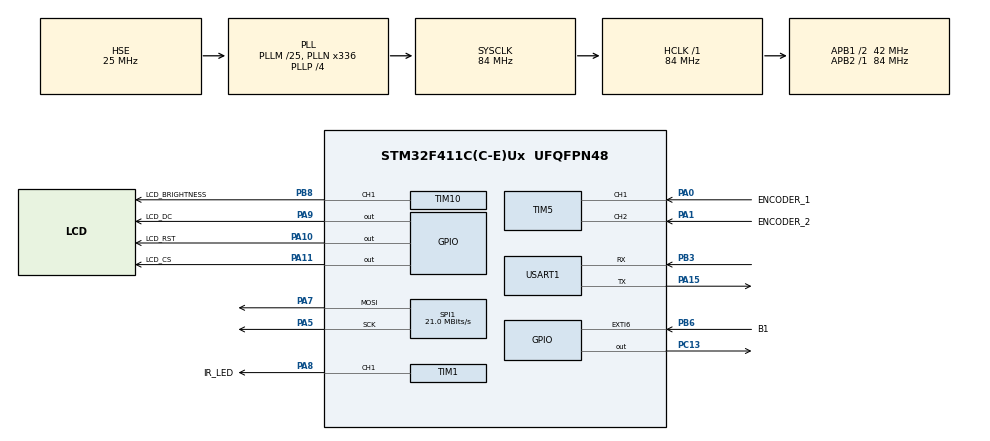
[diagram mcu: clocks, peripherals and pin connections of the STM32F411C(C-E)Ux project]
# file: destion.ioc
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Dma.Request0=SPI1_TX
Dma.SPI1_TX.0.Direction=DMA_MEMORY_TO_PERIPH
Dma.SPI1_TX.0.FIFOMode=DMA_FIFOMODE_DISABLE
Dma.SPI1_TX.0.Instance=DMA2_Stream2
Dma.SPI1_TX.0.MemDataAlignment=DMA_MDATAALIGN_BYTE
Dma.SPI1_TX.0.MemInc=DMA_MINC_ENABLE
Dma.SPI1_TX.0.Mode=DMA_NORMAL
Dma.SPI1_TX.0.PeriphDataAlignment=DMA_PDATAALIGN_BYTE
Dma.SPI1_TX.0.PeriphInc=DMA_PINC_DISABLE
Dma.SPI1_TX.0.Priority=DMA_PRIORITY_LOW
Mcu.Family=STM32F4
Mcu.Name=STM32F411C(C-E)Ux
Mcu.Package=UFQFPN48
NVIC.DMA2_Stream2_IRQn=true\:0\:0\:false\:false\:true\:false\:true\:true
NVIC.EXTI9_5_IRQn=true\:0\:0\:false\:false\:true\:true\:true\:true
NVIC.PriorityGroup=NVIC_PRIORITYGROUP_4
NVIC.RTC_WKUP_IRQn=true\:0\:0\:false\:false\:true\:true\:true\:true
NVIC.TIM1_TRG_COM_TIM11_IRQn=true\:0\:0\:false\:false\:true\:true\:true\:true
NVIC.USART1_IRQn=true\:0\:0\:false\:false\:true\:true\:true\:true
PA0-WKUP.GPIO_Label=ENCODER_1
PA0-WKUP.Signal=S_TIM5_CH1
PA1.GPIO_Label=ENCODER_2
PA1.Signal=S_TIM5_CH2
PA10.GPIO_Label=LCD_RST
PA10.Signal=GPIO_Output
PA11.GPIO_Label=LCD_CS
PA11.Signal=GPIO_Output
PA13.Mode=Serial_Wire
PA13.Signal=SYS_JTMS-SWDIO
PA14.Mode=Serial_Wire
PA14.Signal=SYS_JTCK-SWCLK
PA15.Mode=Asynchronous
PA15.Signal=USART1_TX
PA5.Mode=TX_Only_Simplex_Unidirect_Master
PA5.Signal=SPI1_SCK
PA7.Mode=TX_Only_Simplex_Unidirect_Master
PA7.Signal=SPI1_MOSI
PA8.GPIO_Label=IR_LED
PA8.Signal=S_TIM1_CH1
PA9.GPIO_Label=LCD_DC
PA9.Signal=GPIO_Output
PB3.Mode=Asynchronous
PB3.Signal=USART1_RX
PB6.GPIO_Label=B1
PB6.GPIO_ModeDefaultEXTI=GPIO_MODE_IT_FALLING
PB6.GPIO_PuPd=GPIO_PULLUP
PB6.Signal=GPXTI6
PB8.GPIO_Label=LCD_BRIGHTNESS
PB8.Signal=S_TIM10_CH1
PC13-ANTI_TAMP.Signal=GPIO_Output
PC14-OSC32_IN.Mode=LSE-External-Oscillator
PC14-OSC32_IN.Signal=RCC_OSC32_IN
PC15-OSC32_OUT.Mode=LSE-External-Oscillator
PC15-OSC32_OUT.Signal=RCC_OSC32_OUT
PH0\ -\ OSC_IN.Mode=HSE-External-Oscillator
PH0\ -\ OSC_IN.Signal=RCC_OSC_IN
PH1\ -\ OSC_OUT.Mode=HSE-External-Oscillator
PH1\ -\ OSC_OUT.Signal=RCC_OSC_OUT
ProjectManager.HeapSize=0x200
ProjectManager.StackSize=0x400
ProjectManager.TargetToolchain=STM32CubeIDE
RCC.48MHZClocksFreq_Value=84000000
RCC.AHBFreq_Value=84000000
RCC.APB1CLKDivider=RCC_HCLK_DIV2
RCC.APB1Freq_Value=42000000
RCC.APB1TimFreq_Value=84000000
RCC.APB2Freq_Value=84000000
RCC.APB2TimFreq_Value=84000000
RCC.CortexFreq_Value=84000000
RCC.HCLKFreq_Value=84000000
RCC.HSE_VALUE=25000000
RCC.HSI_VALUE=16000000
RCC.PLLM=25
RCC.PLLN=336
RCC.PLLP=RCC_PLLP_DIV4
RCC.PLLSourceVirtual=RCC_PLLSOURCE_HSE
RCC.RCC_RTC_Clock_Source=RCC_RTCCLKSOURCE_LSE
RCC.RCC_RTC_Clock_SourceVirtual=RCC_RTCCLKSOURCE_LSE
RCC.SYSCLKFreq_VALUE=84000000
RCC.SYSCLKSource=RCC_SYSCLKSOURCE_PLLCLK
RCC.VCOOutputFreq_Value=336000000
RTC.Format=RTC_FORMAT_BIN
RTC.WakeUpCounter=2048-1
SH.S_TIM10_CH1.0=TIM10_CH1,PWM Generation1 CH1
SH.S_TIM1_CH1.0=TIM1_CH1,PWM Generation1 CH1
SH.S_TIM5_CH1.0=TIM5_CH1,Encoder_Interface
SH.S_TIM5_CH2.0=TIM5_CH2,Encoder_Interface
SPI1.BaudRatePrescaler=SPI_BAUDRATEPRESCALER_4
SPI1.CalculateBaudRate=21.0 MBits/s
SPI1.Direction=SPI_DIRECTION_2LINES
SPI1.Mode=SPI_MODE_MASTER
SPI1.VirtualType=VM_MASTER
TIM1.AutoReloadPreload=TIM_AUTORELOAD_PRELOAD_ENABLE
TIM1.Channel-PWM\ Generation1\ CH1=TIM_CHANNEL_1
TIM1.Period=2210
TIM1.Pulse-PWM\ Generation1\ CH1=730
TIM10.Channel=TIM_CHANNEL_1
TIM10.Period=1000-1
TIM10.Prescaler=84-1
TIM10.Pulse=200
TIM11.AutoReloadPreload=TIM_AUTORELOAD_PRELOAD_DISABLE
TIM11.Period=50000-1
TIM11.Prescaler=84-1
TIM5.AutoReloadPreload=TIM_AUTORELOAD_PRELOAD_ENABLE
TIM5.EncoderMode=TIM_ENCODERMODE_TI12
TIM5.IC1Filter=15
TIM5.IC2Filter=15
USART1.VirtualMode=VM_ASYNC
VP_RTC_VS_RTC_Activate.Mode=RTC_Enabled
VP_RTC_VS_RTC_Calendar.Mode=RTC_Calendar
VP_RTC_VS_RTC_WakeUp_intern.Mode=WakeUp
VP_TIM10_VS_ClockSourceINT.Mode=Enable_Timer
VP_TIM11_VS_ClockSourceINT.Mode=Enable_Timer
board=custom

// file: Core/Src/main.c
/* USER CODE BEGIN Header */
/**
  ******************************************************************************
  * @file           : main.c
  * @brief          : Main program body
  ******************************************************************************
  * @attention
  *
  * Copyright (c) 2025 STMicroelectronics.
  * All rights reserved.
  *
  * This software is licensed under terms that can be found in the LICENSE file
  * in the root directory of this software component.
  * If no LICENSE file comes with this software, it is provided AS-IS.
  *
  ******************************************************************************
  */
/* USER CODE END Header */
#include "main.h"
#include "dma.h"
#include "rtc.h"
#include "spi.h"
#include "tim.h"
#include "usart.h"
#include "gpio.h"

/* USER CODE BEGIN Includes */
#include "screen/lcd.h"
#include "screen/ui.h"
#include "fsm_controls.h"
#include "uart_connection.h"
#include "time.h"
#include "ir.h"
/* USER CODE END Includes */

/* USER CODE BEGIN PV */
extern const Page homePage;
extern const Page settingsPage;
#define RX_BUFFER_SIZE 64
volatile uint8_t rxData;
static char uartLine[RX_BUFFER_SIZE];
static uint8_t uartIndex = 0;
extern volatile uint8_t RTCSynchronize;
/* USER CODE END PV */

void SystemClock_Config(void);

int main(void)
{

  /* MCU Configuration--------------------------------------------------------*/

  /* Reset of all peripherals, Initializes the Flash interface and the Systick. */
  HAL_Init();

  /* Configure the system clock */
  SystemClock_Config();

  /* Initialize all configured peripherals */
  MX_GPIO_Init();
  MX_DMA_Init();
  MX_SPI1_Init();
  MX_TIM5_Init();
  MX_TIM10_Init();
  MX_TIM11_Init();
  MX_USART1_UART_Init();
  MX_RTC_Init();
  MX_TIM1_Init();
  /* USER CODE BEGIN 2 */
  HAL_TIM_PWM_Start(&htim1, TIM_CHANNEL_1);
  __HAL_TIM_SET_COMPARE(&htim1, TIM_CHANNEL_1, 0);
  HAL_TIM_PWM_Start(&htim10, TIM_CHANNEL_1);

  HAL_TIM_Encoder_Start(&htim5, TIM_CHANNEL_ALL);
  HAL_UART_Receive_IT(&huart1, (uint8_t*)&rxData, 1);

  CoreDebug->DEMCR |= CoreDebug_DEMCR_TRCENA_Msk;
  DWT->CYCCNT = 0;
  DWT->CTRL |= DWT_CTRL_CYCCNTENA_Msk;
  /* USER CODE END 2 */

  /* Infinite loop */
  /* USER CODE BEGIN WHILE */
  lcdInit();
  lcdFillBackground(BLACK);

  Ui_SetCurrentPage(&homePage);
  Uart_synchornizePcState();
  HAL_GPIO_WritePin(GPIOC, GPIO_PIN_13, GPIO_PIN_SET);
  while (1)
  {
	  HAL_Delay(50);
//	  IR_turnOnLight(1);
//	  HAL_Delay(5000);
//	  IR_turnOnLight(0);

    /* USER CODE END WHILE */

  }
}

void SystemClock_Config(void)
{
  RCC_OscInitTypeDef RCC_OscInitStruct = {0};
  RCC_ClkInitTypeDef RCC_ClkInitStruct = {0};

  /** Configure the main internal regulator output voltage
  */
  __HAL_RCC_PWR_CLK_ENABLE();
  __HAL_PWR_VOLTAGESCALING_CONFIG(PWR_REGULATOR_VOLTAGE_SCALE1);

  /** Initializes the RCC Oscillators according to the specified parameters
  * in the RCC_OscInitTypeDef structure.
  */
  RCC_OscInitStruct.OscillatorType = RCC_OSCILLATORTYPE_HSE|RCC_OSCILLATORTYPE_LSE;
  RCC_OscInitStruct.HSEState = RCC_HSE_ON;
  RCC_OscInitStruct.LSEState = RCC_LSE_ON;
  RCC_OscInitStruct.PLL.PLLState = RCC_PLL_ON;
  RCC_OscInitStruct.PLL.PLLSource = RCC_PLLSOURCE_HSE;
  RCC_OscInitStruct.PLL.PLLM = 25;
  RCC_OscInitStruct.PLL.PLLN = 336;
  RCC_OscInitStruct.PLL.PLLP = RCC_PLLP_DIV4;
  RCC_OscInitStruct.PLL.PLLQ = 4;
  if (HAL_RCC_OscConfig(&RCC_OscInitStruct) != HAL_OK)
  {
    Error_Handler();
  }

  /** Initializes the CPU, AHB and APB buses clocks
  */
  RCC_ClkInitStruct.ClockType = RCC_CLOCKTYPE_HCLK|RCC_CLOCKTYPE_SYSCLK
                              |RCC_CLOCKTYPE_PCLK1|RCC_CLOCKTYPE_PCLK2;
  RCC_ClkInitStruct.SYSCLKSource = RCC_SYSCLKSOURCE_PLLCLK;
  RCC_ClkInitStruct.AHBCLKDivider = RCC_SYSCLK_DIV1;
  RCC_ClkInitStruct.APB1CLKDivider = RCC_HCLK_DIV2;
  RCC_ClkInitStruct.APB2CLKDivider = RCC_HCLK_DIV1;

  if (HAL_RCC_ClockConfig(&RCC_ClkInitStruct, FLASH_LATENCY_2) != HAL_OK)
  {
    Error_Handler();
  }
}

/* USER CODE BEGIN 4 */
void HAL_SPI_TxCpltCallback(SPI_HandleTypeDef *hspi)
{
    if (hspi == &hspi1) {
        HAL_GPIO_WritePin(LCD_CS_GPIO_Port, LCD_CS_Pin, GPIO_PIN_SET);
        lcdSpiBusy = 0;
    }
}

void HAL_GPIO_EXTI_Callback(uint16_t GPIO_Pin)
{
    if(GPIO_Pin == B1_Pin){
        __HAL_TIM_SET_COUNTER(&htim11, 0);
        HAL_TIM_Base_Start_IT(&htim11);
    }
}
void HAL_TIM_PeriodElapsedCallback(TIM_HandleTypeDef *htim)
{
	if(htim == &htim11){
		button_CheckState();
	}
}

void HAL_UART_RxCpltCallback(UART_HandleTypeDef *huart)
{
    if(huart->Instance == USART1)
    {
        if(rxData == '\n' || uartIndex >= RX_BUFFER_SIZE-1)
        {
            uartLine[uartIndex] = '\0';
            Uart_parseData(uartLine);
            uartIndex = 0;
        }
        else
        {
            uartLine[uartIndex++] = rxData;
        }

        // restart IT reception
        HAL_UART_Receive_IT(&huart1, (uint8_t*)&rxData, 1);
    }
}

void HAL_UART_TxCpltCallback(UART_HandleTypeDef *huart)
{
    if(huart->Instance == USART1)
    {
        transmit_it_flag = 0;
    }
}

void HAL_RTCEx_WakeUpTimerEventCallback(RTC_HandleTypeDef *hrtc)
{
	RTC_getTime();
    Ui_UpdateTime();
}
/* USER CODE END 4 */

void Error_Handler(void)
{
  __disable_irq();
  while (1)
  {
  }
}
